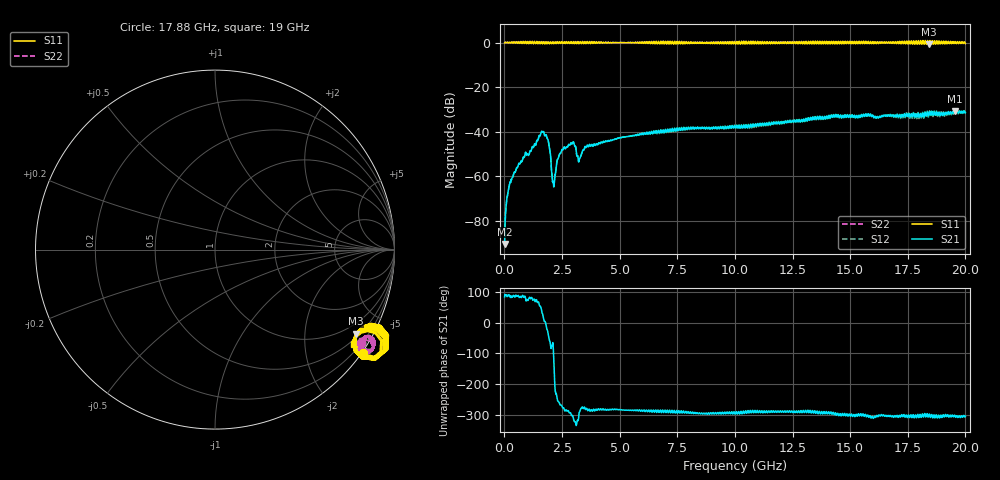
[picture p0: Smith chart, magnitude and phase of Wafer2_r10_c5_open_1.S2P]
!  2-Port S-parameters saved by WinCal
! VAR NAME=Wafer2_r10_c5_open
! VAR DATE=26/04/2024 16:52:19
! VAR FILENAME=Wafer2_r10_c5_open_1.S2P
! VAR MeasName=S-Parameters (CALIBRATED_DATA) read from VNA (P5004A)
! VAR MeasDate=26/04/2024 16:26:55
! VAR PHYS_PORTS=1,2
! VAR ObjTypeName=DATASET
! VAR IndexType=Frequency
# Hz S MA R 50
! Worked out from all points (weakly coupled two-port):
!   1999 points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, 10.01 MHz to 20 GHz, reference 50 ohm
!   highest |S21| = -30.72 dB at 19.56 GHz (marker M1); lowest = -90.4 dB at 10.01 MHz (marker M2)
!   lowest |S11| = -0.8 dB at 18.41 GHz (marker M3), VSWR 22.18, Z = 31 - j176 ohm
!   |S11| at or under -10 dB: nowhere
!   |S22| runs from -0.5 to 0.6 dB; largest |S21 - S12| = 0.0038
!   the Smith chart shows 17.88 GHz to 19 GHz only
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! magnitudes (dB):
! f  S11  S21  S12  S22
! 10.01 MHz  -0.2  -90.4  -91.3  -0.2
! 190.1 MHz  -0.2  -65.3  -65.1  -0.2
! 370.2 MHz  -0.3  -60.3  -60.2  -0.3
! 1.611 GHz  0.4  -39.9  -40.0  0.4
! 1.881 GHz  -0.1  -43.3  -43.2  0.0
! 1.951 GHz  -0.6  -47.0  -46.9  -0.5
! 2.081 GHz  0.0  -61.7  -61.5  0.1
! 2.131 GHz  -0.3  -63.3  -63.3  -0.2
! 2.181 GHz  0.1  -60.8  -60.8  0.1
! 2.351 GHz  -0.4  -51.5  -51.4  -0.3
! 2.551 GHz  -0.3  -47.9  -47.8  -0.3
! 2.951 GHz  -0.4  -45.2  -45.1  -0.3
! 3.212 GHz  0.0  -53.0  -53.1  0.0
! 3.342 GHz  -0.5  -50.1  -50.1  -0.4
! 3.632 GHz  -0.4  -46.7  -46.8  -0.4
! 6.673 GHz  0.2  -39.8  -39.5  0.2
! 10.01 GHz  0.0  -37.8  -38.1  0.0
! 13.35 GHz  -0.6  -34.7  -34.5  -0.3
! 16.68 GHz  0.2  -32.6  -33.2  0.1
! 18.41 GHz  -0.8  -32.7  -32.8  -0.2
! 19.56 GHz  0.4  -30.7  -31.0  0.1
! 20 GHz  -0.5  -31.4  -31.4  -0.1
